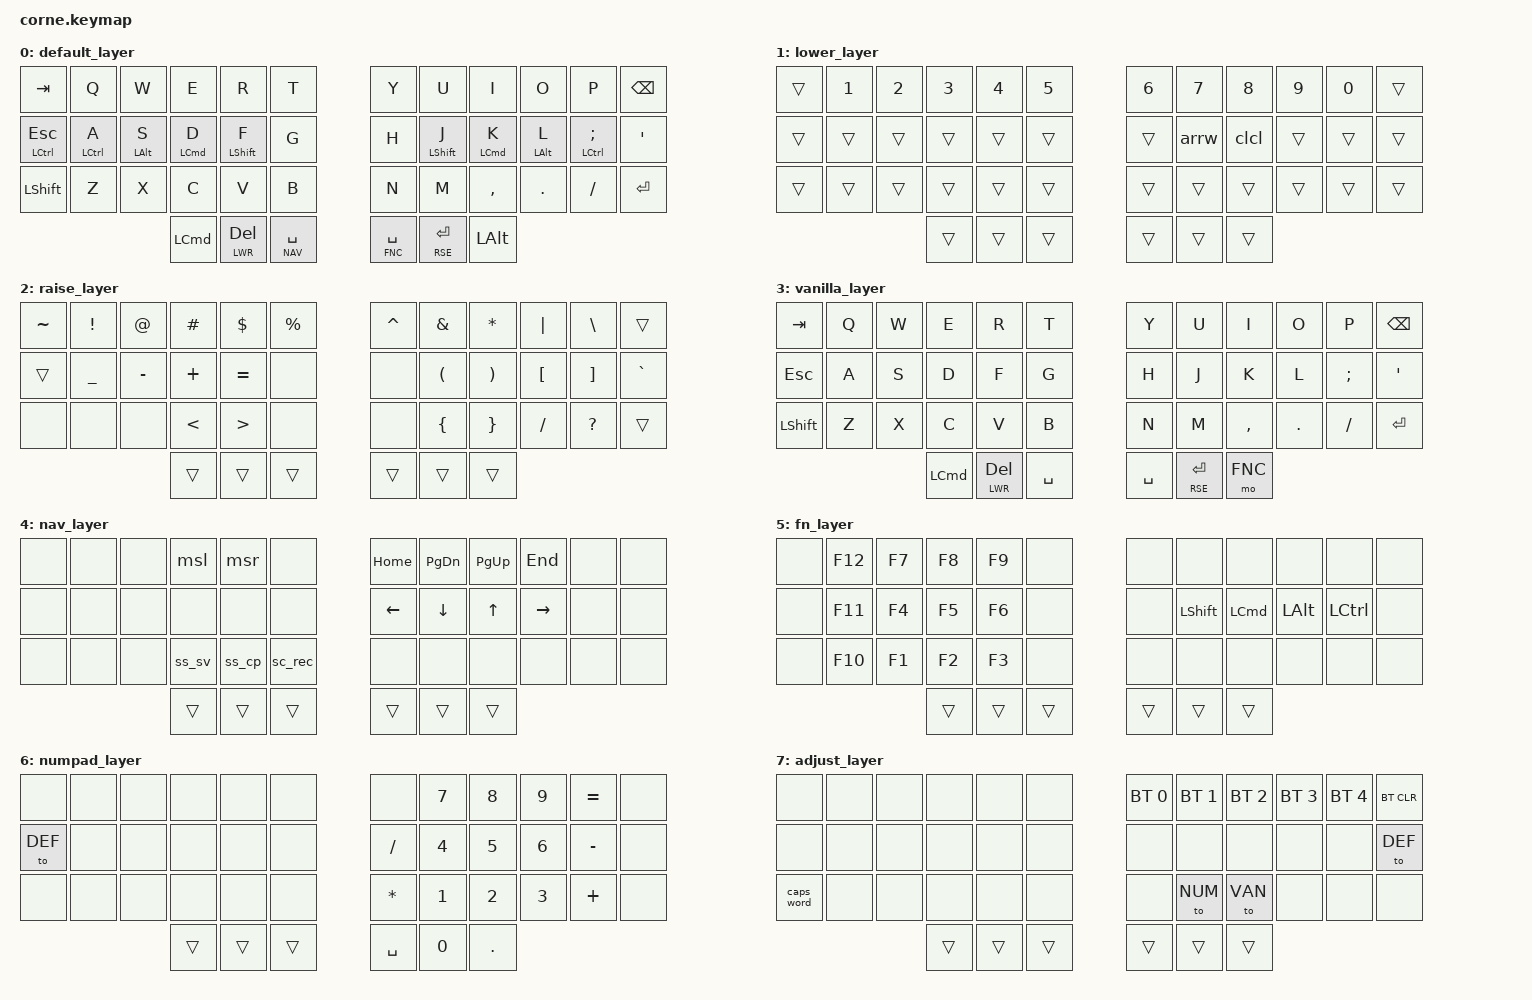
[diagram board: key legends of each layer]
/*
 * Copyright (c) 2020 The ZMK Contributors
 *
 * SPDX-License-Identifier: MIT
 */

#include <behaviors.dtsi>
#include <dt-bindings/zmk/keys.h>
#include <dt-bindings/zmk/bt.h>

#define DEF 0
#define LWR 1
#define RSE 2
#define VAN 3 // Vanilla
#define NAV 4
#define FNC 5
#define NUM 6
#define ADJ 7


&caps_word {
    continue-list = <UNDERSCORE MINUS BSPC>;
};

&lt {
    tapping-term-ms = <200>;
    quick-tap-ms    = <200>;
};

/ {
    behaviors {
        hthp: hold_tap_hold_preferred {
            compatible      = "zmk,behavior-hold-tap";
            label           = "hold_tap_hold_preferred";
            #binding-cells  = <2>;
            flavor          = "hold-preferred";
            tapping-term-ms = <200>;
            quick-tap-ms    = <200>;
            bindings        = <&kp>, <&kp>;
        };
        lthp: layer_tap_hold_preferred {
            compatible      = "zmk,behavior-hold-tap";
            label           = "layer_tap_hold_preferred";
            #binding-cells  = <2>;
            flavor          = "hold-preferred";
            tapping-term-ms = <110>;
            quick-tap-ms    = <200>;
            bindings        = <&mo>, <&kp>;
        };
        lhm: left_homerow_mod {
            compatible                 = "zmk,behavior-hold-tap";
            label                      = "left_homerow_mod";
            #binding-cells             = <2>;
            tapping-term-ms            = <200>;
            quick-tap-ms               = <200>;
            require-prior-idle-ms      = <125>;
            flavor                     = "balanced";
            bindings                   = <&kp>, <&kp>;
            hold-trigger-key-positions = <6 7 8 9 10 11 18 19 20 21 22 23 30 31 32 33 34 35 37 38 40>;
            hold-trigger-on-release;
            global-quick-tap;
        };
        rhm: right_homerow_mod {
            compatible                 = "zmk,behavior-hold-tap";
            label                      = "right_homerow_mod";
            #binding-cells             = <2>;
            tapping-term-ms            = <200>;
            quick-tap-ms               = <200>;
            require-prior-idle-ms      = <125>;
            flavor                     = "balanced";
            bindings                   = <&kp>, <&kp>;
            hold-trigger-key-positions = <0 1 2 3 4 5 12 13 14 15 16 17 24 25 26 27 28 29 37 40>;
            hold-trigger-on-release;
            global-quick-tap;
        };
    };

    conditional_layers {
        compatible = "zmk,conditional-layers";
        adjust_layer {
            if-layers = <LWR RSE>;
            then-layer = <ADJ>;
        };
    };

    macros {
        arrw: arrw {
            label = "cpp_arrow";
            compatible = "zmk,behavior-macro";
            #binding-cells = <0>;
            tap-ms = <10>;
            wait-ms = <0>;
            bindings = <&kp MINUS &kp GT>;
        };
        clcl: clcl {
            label = "colon_colon";
            compatible = "zmk,behavior-macro";
            #binding-cells = <0>;
            tap-ms = <10>;
            wait-ms = <0>;
            bindings = <&kp COLON &kp COLON>;
        };
        msl: msl {
            label = "move_space_left";
            compatible = "zmk,behavior-macro";
            #binding-cells = <0>;
            tap-ms = <10>;
            wait-ms = <10>;
            bindings
                = <&macro_press &kp LCTL>
                , <&macro_tap &kp LEFT>
                , <&macro_release &kp LCTL>;
        };
        msr: msr {
            label = "move_space_right";
            compatible = "zmk,behavior-macro";
            #binding-cells = <0>;
            tap-ms = <10>;
            wait-ms = <10>;
            bindings
                = <&macro_press &kp LCTL>
                , <&macro_tap &kp RIGHT>
                , <&macro_release &kp LCTL>;
        };
        /* tmux: tmux { */
        /*     label = "tmux"; */
        /*     compatible = "zmk,behavior-macro"; */
        /*     #binding-cells = <0>; */
        /*     tap-ms = <10>; */
        /*     wait-ms = <10>; */
        /*     bindings */
        /*         = <&macro_press &kp LCTL> */
        /*         , <&macro_tap &kp SPACE> */
        /*         , <&macro_release &kp LCTL>; */
        /* }; */
        ss_sv: ss_sv {
            label = "screenshot_save";
            compatible = "zmk,behavior-macro";
            #binding-cells = <0>;
            tap-ms = <10>;
            wait-ms = <10>;
            bindings
                = <&macro_press &kp LSHFT>
                , <&macro_press &kp LCMD>
                , <&macro_tap &kp N4>
                , <&macro_release &kp LCMD>
                , <&macro_release &kp LSHFT>;
        };
        ss_cp: ss_cp {
            label = "screenshot_copy";
            compatible = "zmk,behavior-macro";
            #binding-cells = <0>;
            tap-ms = <10>;
            wait-ms = <10>;
            bindings
                = <&macro_press &kp LSHFT>
                , <&macro_press &kp LCMD>
                , <&macro_press &kp LCTL>
                , <&macro_tap &kp N4>
                , <&macro_release &kp LCTL>
                , <&macro_release &kp LCMD>
                , <&macro_release &kp LSHFT>;
        };
        sc_rec: sc_rec {
            label = "screen_record";
            compatible = "zmk,behavior-macro";
            #binding-cells = <0>;
            tap-ms = <10>;
            wait-ms = <10>;
            bindings
                = <&macro_press &kp LSHFT>
                , <&macro_press &kp LCMD>
                , <&macro_tap &kp N5>
                , <&macro_release &kp LCMD>
                , <&macro_release &kp LSHFT>;
        };
    };

    keymap {
        compatible = "zmk,keymap";
        default_layer {
            bindings = <
                &kp   TAB      &kp  Q       &kp  W      &kp  E      &kp  R        &kp T         &kp Y         &kp  U        &kp  I      &kp  O      &kp  P         &kp BSPC
                &hthp LCTL ESC &lhm LCTRL A &lhm LALT S &lhm LCMD D &lhm LSHFT F  &kp G         &kp H         &rhm LSHFT J  &rhm LCMD K &rhm LALT L &rhm LCTL SEMI &kp SQT
                &kp   LSHFT    &kp  Z       &kp  X      &kp  C      &kp  V        &kp B         &kp N         &kp  M        &kp  COMMA  &kp  DOT    &kp  FSLH      &kp RET
                                                        &kp LCMD    &lthp LWR DEL &lt NAV SPACE &lt FNC SPACE &lthp RSE RET &kp  LALT
            >;
        };
        lower_layer {
            bindings = <
                &trans  &kp N1  &kp N2  &kp N3  &kp N4  &kp N5     &kp N6  &kp N7  &kp N8  &kp N9  &kp N0  &trans
                &trans  &trans  &trans  &trans  &trans  &trans     &trans  &arrw   &clcl   &trans  &trans  &trans
                &trans  &trans  &trans  &trans  &trans  &trans     &trans  &trans  &trans  &trans  &trans  &trans
                                        &trans  &trans  &trans     &trans  &trans  &trans
            >;
        };
        raise_layer {
            bindings = <
                &kp TILDE   &kp EXCL   &kp AT     &kp HASH  &kp DLLR   &kp PRCNT   &kp CARET  &kp AMPS  &kp STAR  &kp PIPE  &kp BSLH   &trans
                &trans      &kp UNDER  &kp MINUS  &kp PLUS  &kp EQUAL  &none       &none      &kp LPAR  &kp RPAR  &kp LBKT  &kp RBKT   &kp GRAVE
                &none       &none      &none      &kp LT    &kp GT     &none       &none      &kp LBRC  &kp RBRC  &kp FSLH  &kp QMARK  &trans
                                                  &trans    &trans     &trans      &trans     &trans    &trans
            >;
        };
        vanilla_layer {
            bindings = <
                &kp TAB    &kp Q  &kp W  &kp E      &kp R         &kp T         &kp Y     &kp U          &kp I      &kp O    &kp P     &kp BSPC
                &kp ESC    &kp A  &kp S  &kp D      &kp F         &kp G         &kp H     &kp J          &kp K      &kp L    &kp SEMI  &kp SQT
                &kp LSHFT  &kp Z  &kp X  &kp C      &kp V         &kp B         &kp N     &kp M          &kp COMMA  &kp DOT  &kp FSLH  &kp RET
                                         &kp LCMD   &lthp LWR DEL &kp SPACE     &kp SPACE &lthp RSE RET  &mo  FNC
                >;
        };
        nav_layer {
            bindings = <
                &none &none &none &msl   &msr   &none     &kp HOME &kp PG_DN &kp PG_UP &kp END   &none &none
                &none &none &none &none  &none  &none     &kp LEFT &kp DOWN  &kp UP    &kp RIGHT &none &none
                &none &none &none &ss_sv &ss_cp &sc_rec   &none    &none     &none     &none     &none &none
                                  &trans &trans &trans    &trans   &trans    &trans
            >;
        };
        fn_layer {
            bindings = <
                &none &kp F12 &kp F7 &kp F8 &kp F9 &none        &none  &none     &none    &none    &none    &none
                &none &kp F11 &kp F4 &kp F5 &kp F6 &none        &none  &kp LSHFT &kp LCMD &kp LALT &kp LCTL &none
                &none &kp F10 &kp F1 &kp F2 &kp F3 &none        &none  &none     &none    &none    &none    &none
                                     &trans &trans &trans       &trans &trans &trans
            >;
        };
        numpad_layer {
            bindings = <
                &none   &none &none &none  &none  &none    &none     &kp N7    &kp N8    &kp N9    &kp EQUAL &none
                &to DEF &none &none &none  &none  &none    &kp FSLH  &kp N4    &kp N5    &kp N6    &kp MINUS &none
                &none   &none &none &none  &none  &none    &kp STAR  &kp N1    &kp N2    &kp N3    &kp PLUS  &none
                                    &trans &trans &trans   &kp SPACE &kp N0    &kp DOT
            >;
        };
        adjust_layer {
            bindings = <
                &none      &none &none &none  &none  &none    &bt BT_SEL 0  &bt BT_SEL 1  &bt BT_SEL 2 &bt BT_SEL 3 &bt BT_SEL 4 &bt BT_CLR
                &none      &none &none &none  &none  &none    &none  &none    &none   &none &none &to DEF
                &caps_word &none &none &none  &none  &none    &none  &to NUM  &to VAN &none &none &none
                                  &trans &trans &trans   &trans &trans &trans
            >;
        };
    };
};

// &bt BT_CLR &bt BT_SEL 0 &bt BT_SEL 1 &bt BT_SEL 2 &bt BT_SEL 3 &bt BT_SEL 4   &kp LEFT &kp DOWN &kp UP &kp RIGHT &trans &trans
